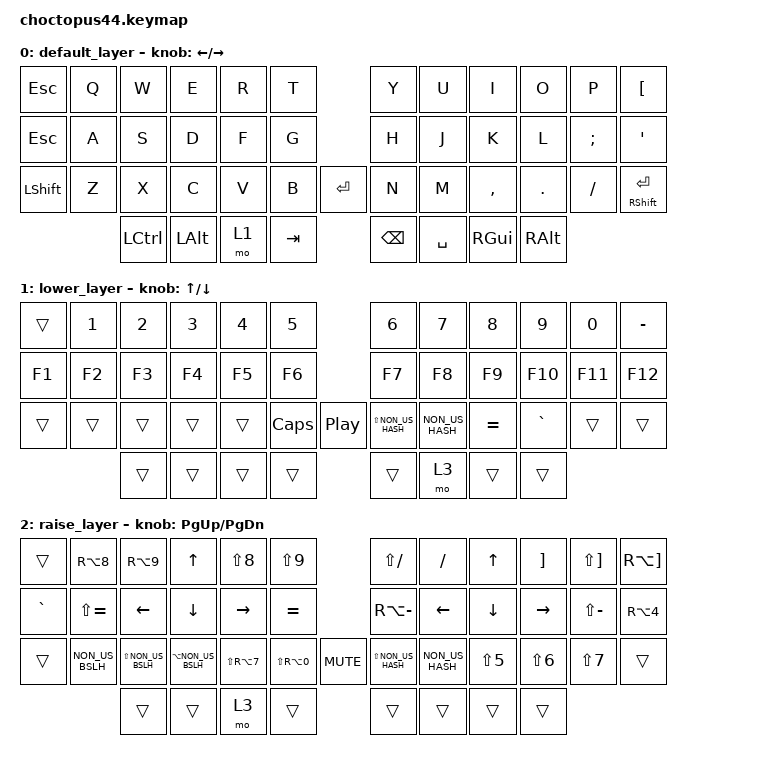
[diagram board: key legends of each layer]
/*
 * Copyright (c) 2021 The ZMK Contributors
 *
 * SPDX-License-Identifier: MIT
 */

#include <behaviors.dtsi>
#include <dt-bindings/zmk/keys.h>
#include <dt-bindings/zmk/bt.h>
#include <dt-bindings/zmk/rgb.h>

&mt {
    tapping-term-ms = <400>;
};

/ {
  keymap {
    compatible = "zmk,keymap";


    default_layer {
      bindings = <
        &kp ESC     &kp Q     &kp W       &kp E     &kp R    &kp T                &kp Y     &kp U     &kp I      &kp O    &kp P     &kp LBKT
        &kp ESC     &kp A     &kp S       &kp D     &kp F    &kp G                &kp H     &kp J     &kp K      &kp L    &kp SEMI  &kp SQT
        &kp LSHFT   &kp Z     &kp X       &kp C     &kp V    &kp B      &kp RET   &kp N     &kp M     &kp COMMA  &kp DOT  &kp FSLH  &mt RSHFT RET
                              &kp LCTRL   &kp LALT  &mo 1    &kp TAB            &kp BSPC  &kp SPACE     &kp RGUI   &kp RALT
      >;
      sensor-bindings = <&inc_dec_kp LEFT RIGHT>;
    };

    lower_layer {
      bindings = <
        &trans    &kp N1    &kp N2  &kp N3   &kp N4   &kp N5                          &kp N6              &kp N7            &kp N8      &kp N9      &kp N0    &kp MINUS
        &kp F1    &kp F2    &kp F3  &kp F4   &kp F5   &kp F6                          &kp F7              &kp F8            &kp F9      &kp F10     &kp F11   &kp F12
        &trans    &trans    &trans  &trans   &trans   &kp CAPS    &kp C_PLAY_PAUSE    &kp LS(NON_US_HASH) &kp NON_US_HASH   &kp EQUAL   &kp GRAVE   &trans    &trans
                            &trans  &trans   &trans   &trans                          &trans              &mo 3             &trans      &trans
      >;
      sensor-bindings = <&inc_dec_kp UP DOWN>;
    };

    raise_layer {
      bindings = <
        &trans      &kp RA(N8)        &kp RA(N9)            &kp UP                &kp LS(N8)      &kp LS(N9)                      &kp LS(FSLH)        &kp FSLH          &kp UP      &kp RBKT    &kp LS(RBKT)  &kp RA(RBKT)
        &kp GRAVE   &kp LS(EQUAL)     &kp LEFT              &kp DOWN              &kp RIGHT       &kp EQUAL                       &kp RA(MINUS)       &kp LEFT          &kp DOWN    &kp RIGHT   &kp LS(MINUS) &kp RA(N4)
        &trans      &kp NON_US_BSLH   &kp LS(NON_US_BSLH)   &kp LA(NON_US_BSLH)   &kp LS(RA(N7))  &kp LS(RA(N0))   &kp C_MUTE     &kp LS(NON_US_HASH) &kp NON_US_HASH   &kp LS(N5)  &kp LS(N6)  &kp LS(N7)    &trans
                                      &trans                &trans                &mo 3           &trans                          &trans              &trans            &trans      &trans
      >;
      sensor-bindings = <&inc_dec_kp PG_UP PG_DN>;
    };
  };
};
